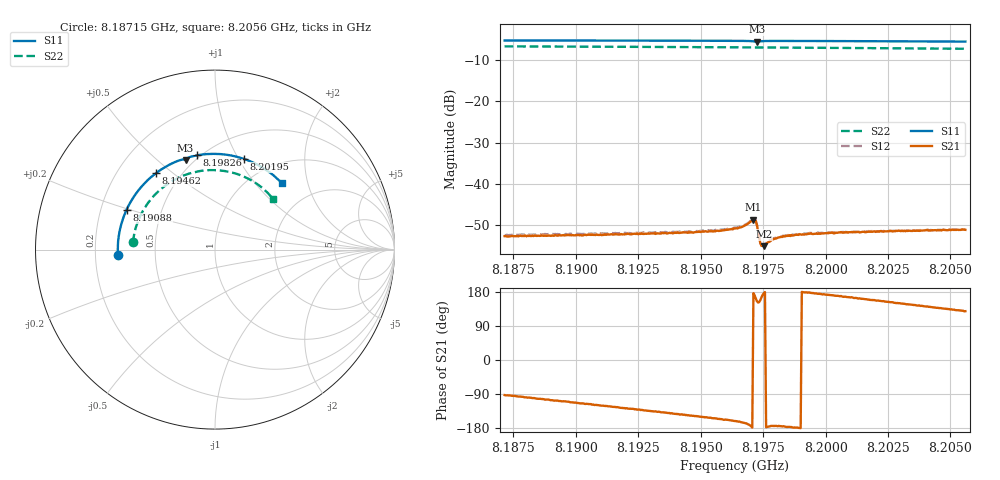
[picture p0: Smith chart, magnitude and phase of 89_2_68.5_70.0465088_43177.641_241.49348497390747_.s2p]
#  HZ  S  RI  R  50.00
! Rohde & Schwarz Vector Network Analyzer
! Rohde-Schwarz,ZNB20-2Port,1311601062101988,3.16
! Created: UTC 3/20/2024, 5:07:43 PM
! freq[Hz]  re:S11  im:S11  re:S21  im:S21  re:S12  im:S12  re:S22  im:S22
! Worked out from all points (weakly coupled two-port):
!   401 points, 8.18715 GHz to 8.2056 GHz, reference 50 ohm
!   highest |S21| = -48.62 dB at 8.19711 GHz (marker M1); lowest = -55.0 dB at 8.19753 GHz (marker M2)
!   lowest |S11| = -5.6 dB at 8.19725 GHz (marker M3), VSWR 3.20, Z = 22.6 + j31.1 ohm
!   |S11| at or under -10 dB: nowhere
!   |S22| runs from -7.3 to -6.7 dB; largest |S21 - S12| = 0.00018
!   S11 on the Smith chart (normalised r, x): 8.18715 GHz: 0.30, -0.03; 8.19088 GHz: 0.31, +0.20; 8.19462 GHz: 0.36, +0.44; 8.19826 GHz: 0.48, +0.71; 8.20195 GHz: 0.75, +1.05; 8.2056 GHz: 1.37, +1.40
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8.187149e9  -0.541 -0.0323  -0.000102 -0.00234  -0.000164 -0.0024  -0.458 0.04
8.188671e9  -0.5365 0.0739  -0.000531 -0.00231  -0.00063 -0.00238  -0.4413 0.1229
8.190239e9  -0.5098 0.1804  -0.00098 -0.00217  -0.00108 -0.00223  -0.4084 0.2033
8.190885e9  -0.4926 0.2222  -0.00118 -0.00212  -0.00128 -0.00213  -0.3904 0.2346
8.193329e9  -0.3974 0.3642  -0.00183 -0.00174  -0.00194 -0.0017  -0.3014 0.3373
8.194621e9  -0.3298 0.4252  -0.00218 -0.00143  -0.00224 -0.00136  -0.243 0.3794
8.19582e9  -0.2585 0.4708  -0.0025 -0.00111  -0.0026 -0.00107  -0.1831 0.4097
8.196373e9  -0.2226 0.4879  -0.00274 -0.000945  -0.00284 -0.000873  -0.1539 0.4206
8.196696e9  -0.2005 0.4965  -0.00296 -0.000789  -0.00306 -0.000707  -0.1364 0.4259
8.197111e9  -0.1684 0.5013  -0.0037 0.000235  -0.00379 0.000384  -0.1137 0.4317
8.197157e9  -0.1657 0.5  -0.00365 0.000593  -0.0037 0.000756  -0.1111 0.4322
8.197203e9  -0.1641 0.4983  -0.00342 0.00107  -0.00341 0.00119  -0.1087 0.4326
8.197249e9  -0.164 0.4976  -0.0029 0.00133  -0.0029 0.00144  -0.1062 0.4332
8.197388e9  -0.1618 0.5042  -0.00177 0.000713  -0.00179 0.000791  -0.0987 0.4348
8.197434e9  -0.1592 0.5067  -0.00173 0.000443  -0.00174 0.000515  -0.096 0.4354
8.197526e9  -0.1526 0.5107  -0.00176 0.000125  -0.00183 0.000182  -0.0909 0.4364
8.197849e9  -0.1291 0.5189  -0.0021 -0.000228  -0.00211 -0.000128  -0.0727 0.4393
8.198264e9  -0.0993 0.5255  -0.00228 -0.000187  -0.00234 -0.000119  -0.0495 0.4417
8.199463e9  -0.0144 0.5335  -0.00248 0.000147  -0.00254 0.000259  0.0185 0.4419
8.201954e9  0.1589 0.5064  -0.00249 0.000996  -0.00244 0.0011  0.1561 0.4087
8.202553e9  0.1986 0.4911  -0.00239 0.00123  -0.00238 0.00133  0.1874 0.394
8.205598e9  0.3741 0.3684  -0.00175 0.00217  -0.0017 0.00226  0.3237 0.2831
